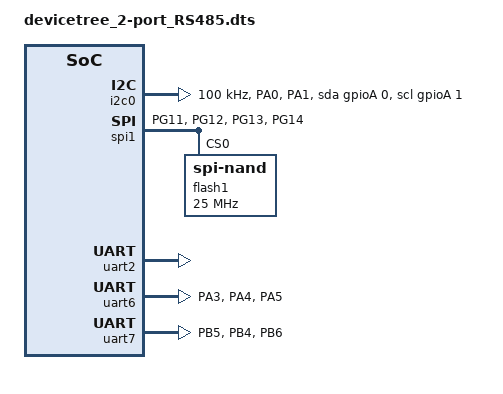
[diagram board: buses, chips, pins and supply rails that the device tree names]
/dts-v1/;

#include "foxiot_wolf.dts"

&aliases {
	i2c0 = &i2c0;
};

&spi1 {
	num-cs = <1>;
	pinctrl-names = "default";
	pinctrl-0 = <&pinctrl_spi1>;
	cs-gpios = <0>, <&gpioB 1 GPIO_ACTIVE_LOW>;
	status = "okay";
	flash1: flash@0 {
		compatible = "spi-nand";
		reg = <0>;
		spi-max-frequency = <25000000>;
		spi-rx-bus-width = <1>;
		#address-cells = <1>;
		#size-cells = <1>;
		ext_ubi: ext_ubi@0 {
			label = "ext_ubi";
			reg = <0x0 0x8000000>;
		};
	};
};

&uart2 {
	status = "okay";
};

&uart6 {
	pinctrl-names = "default";
	pinctrl-0 = <&pinctrl_uart6>;
	linux,rs485-enabled-at-boot-time;
    status = "okay";
};

&uart7 {
	pinctrl-names = "default";
	pinctrl-0 = <&pinctrl_uart7>;
	linux,rs485-enabled-at-boot-time;
    status = "okay";
};

&uart8 {
	status = "disabled";
};

/ {
	i2c0: i2c0 {
		compatible = "i2c-gpio";
		scl-gpios = <&gpioA 1 (GPIO_ACTIVE_HIGH|GPIO_OPEN_DRAIN)>;
		sda-gpios = <&gpioA 0 (GPIO_ACTIVE_HIGH|GPIO_OPEN_DRAIN)>;
		clock-frequency = <100000>;
		pinctrl-0 = <&pinctrl_i2c0>;
		pinctrl-names = "default";
		#address-cells = <1>;
		#size-cells = <0>;
	};
};

&pinctrl {
	pinctrl_uart6: pinctrl_uart6 {
		pins = "PA3", "PA4", "PA5";
		function = "mfp1";
		bias-pull-up;
	};
	pinctrl_uart7: pinctrl_uart7 {
		pins = "PB5", "PB4", "PB6";
		function = "mfp5";
		bias-pull-up;
	};
	pinctrl_i2c0: pinctrl_i2c0 {
		pins = "PA0", "PA1";
		function = "mfp0";
		drive-open-drain;
	};
	pinctrl_spi1: pinctrl_spi1 {
		spi {
			pins = "PG11", "PG12", "PG13", "PG14";
			function = "mfp2";
			drive-push-pull;
		};
	};
};

&flash {
	/delete-node/ ubi;
	ubi0: ubi@2040000 {
		label = "ubi0";
		reg = <0x2040000 0x800000>;
	};
	ubi1: ubi@2840000 {
		label = "ubi1";
		reg = <0x2840000 0x57c0000>;
	};
};

